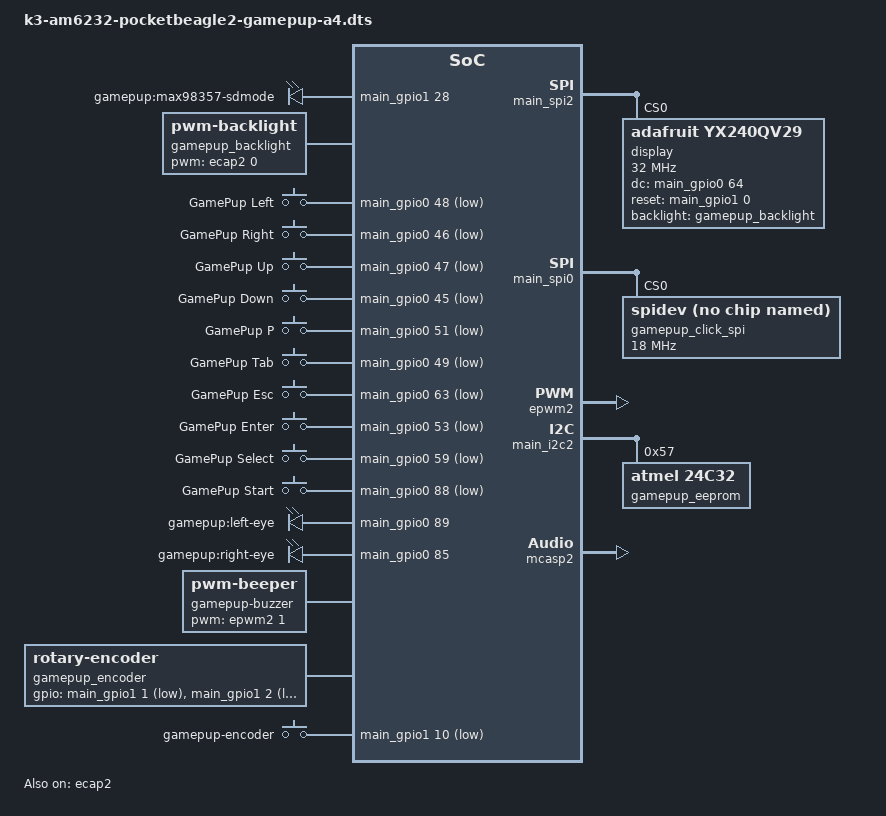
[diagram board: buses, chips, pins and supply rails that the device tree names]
// SPDX-License-Identifier: GPL-2.0-only
/*
 * Portions derived from BBORG_GAMEPUP-00A2.dts:
 * Copyright (C) 2012 Texas Instruments Incorporated - https://www.ti.com/
 */

/dts-v1/;
/plugin/;

/*
 * PocketBeagle 2 support for the PocketBeagle GamePup Cape revision A4.
 *
 * The GamePup was designed for the AM335x PocketBeagle.  On PocketBeagle 2,
 * its P1 SPI connection is main_spi2.  The A4 schematic connects LCD MOSI to
 * P1.12 (SPI2_D1 on PB2); P1.10/SPI2_D0 is the unused MISO direction.
 *
 * This source intentionally uses numeric pin configuration and input key
 * values so it can be compiled directly by dtc without a kernel source tree.
 */

&{/chosen} {
	overlays {
		gamepup-a4 = "PocketBeagle 2 GamePup A4";
		/* Bump this string when audio DT changes; check via /proc. */
		gamepup-a4-audio = "max98357-playback-v4-dai-link";
	};
};

&main_pmx0 {
	gamepup_spi2_pins: gamepup-spi2-pins {
		pinctrl-single,pins = <
			0x01ac 0x020001 /* P1.06 E19: SPI2_CS0, output pull-up */
			0x01b0 0x010001 /* P1.08 A20: SPI2_CLK, output */
			0x0194 0x054001 /* P1.10 B19: SPI2_D0, MISO input */
			0x0198 0x010001 /* P1.12 A19: SPI2_D1, LCD MOSI output */

			0x0140 0x200007 /* P1.06 alternate AM62x pad disabled */
			0x01f0 0x200007 /* P1.10 alternate AM62x pad disabled */
			0x013c 0x200007 /* P1.12 alternate AM62x pad disabled */
		>;
	};

	gamepup_display_control_pins: gamepup-display-control-pins {
		pinctrl-single,pins = <
			0x0104 0x010007 /* P2.17: LCD D/C, GPIO0_64 output */
			0x0178 0x010007 /* P2.19: LCD reset, GPIO1_0 output */
		>;
	};

	gamepup_button_pins: gamepup-button-pins {
		pinctrl-single,pins = <
			0x00b8 0x064007 /* P2.02: left down, GPIO0_45 pull-up */
			0x00bc 0x064007 /* P2.04: left right, GPIO0_46 pull-up */
			0x00c0 0x064007 /* P2.06: left up, GPIO0_47 pull-up */
			0x00c4 0x064007 /* P2.08: left left, GPIO0_48 pull-up */
			0x00d8 0x064007 /* P2.18: right down, GPIO0_53 pull-up */
			0x00c8 0x064007 /* P2.20: right right, GPIO0_49 pull-up */
			0x0100 0x064007 /* P2.22: right up, GPIO0_63 pull-up */
			0x00d0 0x064007 /* P2.24: right left, GPIO0_51 pull-up */
			0x00f0 0x064007 /* P1.31: Select, GPIO0_59 pull-up */
			0x0168 0x064007 /* P1.35: Start, GPIO0_88 pull-up */
		>;
	};

	gamepup_eye_led_pins: gamepup-eye-led-pins {
		pinctrl-single,pins = <
			0x016c 0x010007 /* P1.04 Y18: left eye, GPIO0_89 output */
			0x015c 0x010007 /* P2.03 AB22: right eye, GPIO0_85 output */
			0x01a8 0x200007 /* P1.04 alternate AM62x pad disabled */
			0x019c 0x200007 /* P2.03 alternate AM62x pad disabled */
		>;
	};

	gamepup_backlight_pwm_pin: gamepup-backlight-pwm-pin {
		pinctrl-single,pins = <
			0x01a4 0x010002 /* P2.01 B20: ECAP2 PWM output */
			0x0160 0x200007 /* P2.01 alternate AM62x pad disabled */
		>;
	};

	gamepup_buzzer_pwm_pin: gamepup-buzzer-pwm-pin {
		pinctrl-single,pins = <
			0x01ec 0x010008 /* P1.33 A17: EHRPWM2_B output */
			0x00e4 0x200007 /* P1.33 alternate AM62x pad disabled */
		>;
	};

	/*
	 * EC11 rotary encoder on the former OLED C Click control pins:
	 * AN=A, INT=B, RST=switch.  The 1.3" SH1106 OLED uses mikroBUS I2C
	 * (main_i2c2 / P1.26 SDA + P1.28 SCL) at address 0x3C.
	 */
	gamepup_encoder_ab_pins: gamepup-encoder-ab-pins {
		pinctrl-single,pins = <
			0x017c 0x060007 /* P1.19: ENC A, GPIO1_1 input pull-up */
			0x0180 0x060007 /* P1.34: ENC B, GPIO1_2 input pull-up */
		>;
	};

	gamepup_encoder_sw_pins: gamepup-encoder-sw-pins {
		pinctrl-single,pins = <
			0x01a0 0x060007 /* P1.02 E18: ENC SW, GPIO1_10 input pull-up */
			0x0164 0x200007 /* P1.02 alternate AM62x pad disabled */
		>;
	};

	/*
	 * McASP2 I2S (SoC bit/frame master), 3.3 V peripherals:
	 *   MAX98357A amp:  P2.11 BCLK, P2.10 LRCLK, P2.05 DIN (AXR0 TX)
	 *   P2.07 AXR1 reserved for a future mic capture path.
	 *   P1.36A holds SD_MODE high (gpio-leds hog) so the amp stays out
	 *   of shutdown without blocking the maxim,max98357a probe.
	 */
	/*
	 * PIN_INPUT | mux = 0x050000 | mode (RXACTIVE + PULL_DISABLE).
	 * McASP clocks need the input path even when the SoC is master.
	 */
	gamepup_mcasp2_pins: gamepup-mcasp2-pins {
		pinctrl-single,pins = <
			0x01d8 0x050008 /* P2.05 C15: MCASP2_AXR0 TX (amp DIN) */
			0x01dc 0x050008 /* P2.07 E15: MCASP2_AXR1 (unused RX) */
			0x0174 0x050002 /* P2.10 AD21: MCASP2_AFSX (LRCLK/WS) */
			0x01d4 0x050008 /* P2.11 B15: MCASP2_ACLKX (BCLK/SCK) */
		>;
	};

	gamepup_max98357_sdmode_pin: gamepup-max98357-sdmode-pin {
		pinctrl-single,pins = <
			0x01e8 0x010007 /* P1.36A B17: GPIO1_28 SD_MODE output */
			0x00e0 0x200007 /* P1.36 V20: alternate pad disabled */
		>;
	};
};

&main_spi2 {
	status = "okay";
	pinctrl-names = "default";
	pinctrl-0 = <&gamepup_spi2_pins>;
	#address-cells = <1>;
	#size-cells = <0>;

	/*
	 * ILI9341 240x320 panel driven by the DRM tiny ili9341 driver.
	 * rotation 90 yields a landscape 320x240 framebuffer.  Use 270 if
	 * the image is upside-down on your panel.  The adafruit,yx240qv29
	 * compatible string is what the out-of-tree ili9341 module matches.
	 */
	display@0 {
		compatible = "adafruit,yx240qv29";
		reg = <0>;
		spi-max-frequency = <32000000>;
		pinctrl-names = "default";
		pinctrl-0 = <&gamepup_display_control_pins>;
		dc-gpios = <&main_gpio0 64 0>;
		reset-gpios = <&main_gpio1 0 0>;
		backlight = <&gamepup_backlight>;
		rotation = <90>;
	};
};

/* Click SPI remains available; encoder GPIOs are claimed separately. */
&main_spi0 {
	status = "okay";
	#address-cells = <1>;
	#size-cells = <0>;

	gamepup_click_spi: spidev@0 {
		compatible = "rohm,dh2228fv";
		reg = <0>;
		spi-max-frequency = <18000000>;
	};
};

&ecap2 {
	status = "okay";
	pinctrl-names = "default";
	pinctrl-0 = <&gamepup_backlight_pwm_pin>;
};

&epwm2 {
	status = "okay";
	/* Clear inherited EHRPWM2_A on P1.36; SD_MODE claims that pad below. */
	pinctrl-names = "default";
	pinctrl-0 = <>;
};

&main_i2c2 {
	status = "okay";
	#address-cells = <1>;
	#size-cells = <0>;

	gamepup_eeprom: eeprom@57 {
		compatible = "atmel,24c32";
		reg = <0x57>;
		pagesize = <32>;
		read-only;
	};
};

/*
 * Same shape as BeaglePlay HDMI McASP (playback-only serializers, no
 * tx/rx-num-evt).  Those FIFO knobs have been observed to upset UDMA PCM
 * registration on AM62 when set without a matching AFIFO consumer.
 */
&mcasp2 {
	#sound-dai-cells = <0>;
	pinctrl-names = "default";
	pinctrl-0 = <&gamepup_mcasp2_pins>;
	status = "okay";
	op-mode = <0>; /* DAVINCI_MCASP_IIS_MODE */
	tdm-slots = <2>;
	auxclk-fs-ratio = <256>;
	/* AXR0 = TX (MAX98357).  Remaining serializers inactive. */
	serial-dir = <
		1 0 0 0
		0 0 0 0
		0 0 0 0
		0 0 0 0
	>;
};

&{/} {
	/*
	 * Do not pass sdmode-gpios to maxim,max98357a: if GPIO1_28 cannot be
	 * claimed (common when epwm2 still owns P1.36), the codec never
	 * registers and simple-audio-card stays deferred forever with
	 * modules loaded but aplay -l empty.  Hold SD_MODE high separately.
	 */
	gamepup_max98357a: gamepup-max98357a {
		compatible = "maxim,max98357a";
		#sound-dai-cells = <0>;
		status = "okay";
	};

	gamepup-max98357-sdmode {
		compatible = "gpio-leds";
		pinctrl-names = "default";
		pinctrl-0 = <&gamepup_max98357_sdmode_pin>;

		sdmode {
			label = "gamepup:max98357-sdmode";
			gpios = <&main_gpio1 28 0>;
			default-state = "on";
		};
	};

	/*
	 * Unique node name avoids merging with any base-board "sound" stub.
	 * One dai-link only: simple-audio-card cannot attach two codecs to
	 * one McASP (that needs audio-graph).  Use a dai-link child so the driver
	 * looks for child names "cpu"/"codec" (not "simple-audio-card,codec");
	 * a missing codec child is the -ENODEV "parse error" path.
	 */
	gamepup_sound: sound-gamepup {
		compatible = "simple-audio-card";
		simple-audio-card,name = "GamePup-MAX98357";
		status = "okay";

		simple-audio-card,dai-link {
			format = "i2s";
			bitclock-master = <&gamepup_sound_cpu>;
			frame-master = <&gamepup_sound_cpu>;
			playback-only;

			gamepup_sound_cpu: cpu {
				sound-dai = <&mcasp2>;
				system-clock-direction-out;
			};

			codec {
				sound-dai = <&gamepup_max98357a>;
			};
		};
	};

	gamepup_backlight: backlight-gamepup {
		compatible = "pwm-backlight";
		pwms = <&ecap2 0 100000 0>;
		brightness-levels = <0 4 8 16 32 64 96 128 160 192 224 255>;
		default-brightness-level = <11>;
	};

	gamepup-buttons {
		compatible = "gpio-keys";
		pinctrl-names = "default";
		pinctrl-0 = <&gamepup_button_pins>;
		autorepeat;

		left-pad-left {
			label = "GamePup Left";
			linux,code = <105>;
			gpios = <&main_gpio0 48 1>;
			debounce-interval = <10>;
		};

		left-pad-right {
			label = "GamePup Right";
			linux,code = <106>;
			gpios = <&main_gpio0 46 1>;
			debounce-interval = <10>;
		};

		left-pad-up {
			label = "GamePup Up";
			linux,code = <103>;
			gpios = <&main_gpio0 47 1>;
			debounce-interval = <10>;
		};

		left-pad-down {
			label = "GamePup Down";
			linux,code = <108>;
			gpios = <&main_gpio0 45 1>;
			debounce-interval = <10>;
		};

		right-pad-left {
			label = "GamePup P";
			linux,code = <25>;
			gpios = <&main_gpio0 51 1>;
			debounce-interval = <10>;
		};

		right-pad-right {
			label = "GamePup Tab";
			linux,code = <15>;
			gpios = <&main_gpio0 49 1>;
			debounce-interval = <10>;
		};

		right-pad-up {
			label = "GamePup Esc";
			linux,code = <1>;
			gpios = <&main_gpio0 63 1>;
			debounce-interval = <10>;
		};

		right-pad-down {
			label = "GamePup Enter";
			linux,code = <28>;
			gpios = <&main_gpio0 53 1>;
			debounce-interval = <10>;
		};

		select {
			label = "GamePup Select";
			linux,code = <6>;
			gpios = <&main_gpio0 59 1>;
			debounce-interval = <10>;
		};

		start {
			label = "GamePup Start";
			linux,code = <2>;
			gpios = <&main_gpio0 88 1>;
			debounce-interval = <10>;
		};
	};

	gamepup-eye-leds {
		compatible = "gpio-leds";
		pinctrl-names = "default";
		pinctrl-0 = <&gamepup_eye_led_pins>;

		left-eye {
			label = "gamepup:left-eye";
			gpios = <&main_gpio0 89 0>;
			default-state = "off";
		};

		right-eye {
			label = "gamepup:right-eye";
			gpios = <&main_gpio0 85 0>;
			default-state = "off";
		};
	};

	gamepup-buzzer {
		compatible = "pwm-beeper";
		pinctrl-names = "default";
		pinctrl-0 = <&gamepup_buzzer_pwm_pin>;
		pwms = <&epwm2 1 250000 0>;
	};

	gamepup_encoder: gamepup-encoder {
		compatible = "rotary-encoder";
		pinctrl-names = "default";
		pinctrl-0 = <&gamepup_encoder_ab_pins>;
		gpios = <&main_gpio1 1 1>, <&main_gpio1 2 1>;
		linux,axis = <7>; /* REL_DIAL */
		rotary-encoder,relative-axis;
		rotary-encoder,steps-per-period = <4>;
		rotary-encoder,encoding = "gray";
	};

	gamepup-encoder-button {
		compatible = "gpio-keys";
		pinctrl-names = "default";
		pinctrl-0 = <&gamepup_encoder_sw_pins>;

		button {
			label = "gamepup-encoder";
			gpios = <&main_gpio1 10 1>;
			linux,code = <28>; /* KEY_ENTER */
			debounce-interval = <20>;
		};
	};
};
